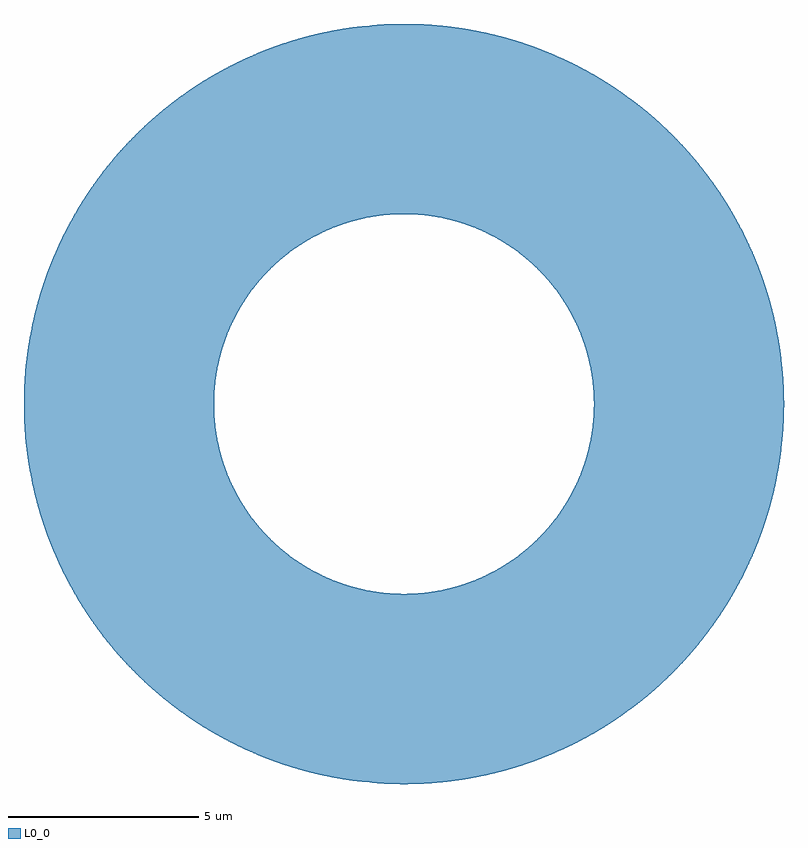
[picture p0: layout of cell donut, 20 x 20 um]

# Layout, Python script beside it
import gdspy
import numpy as np

# Define the library and cell for the GDS layout
lib = gdspy.GdsLibrary()
cell = lib.new_cell('donut')

# Define the outer and inner radii
outer_radius = 10
inner_radius = 5

# Create the outer circle
outer_circle = gdspy.Round((0, 0), outer_radius, number_of_points=int(2*np.pi*outer_radius/0.01), max_points=1000)

# Create the inner circle
inner_circle = gdspy.Round((0, 0), inner_radius, number_of_points=int(2*np.pi*inner_radius/0.01), max_points=1000)

# Create the donut shape by subtracting the inner circle from the outer circle
donut = gdspy.boolean(outer_circle, inner_circle, 'not')

# Add the donut shape to the cell
cell.add(donut)

# Save the design to a GDS file
lib.write_gds('donut.gds')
